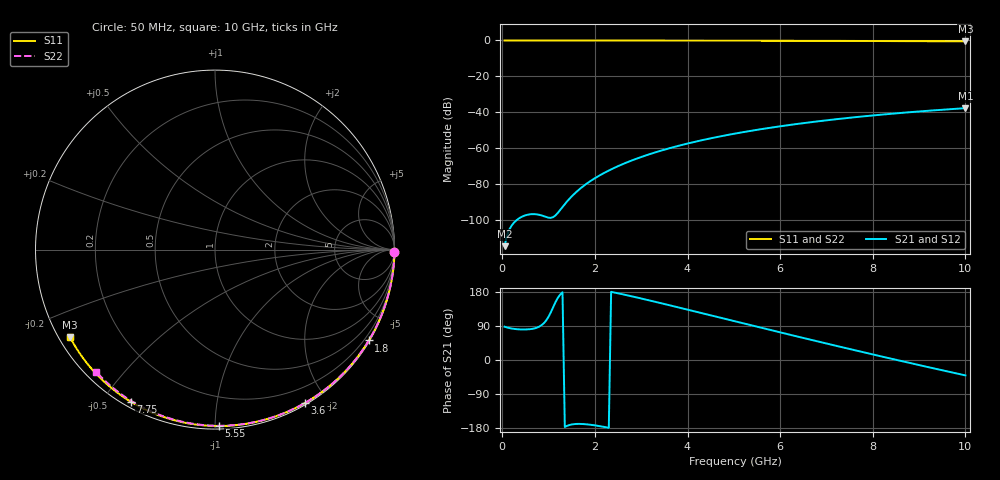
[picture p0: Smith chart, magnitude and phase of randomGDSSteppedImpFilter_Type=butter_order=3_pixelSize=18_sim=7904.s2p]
! freq	dB(S11)	phase(S11)	dB(S12)	phase(S12)
!  dB(S21)	phase(S21)	dB(S22)	phase(S22)
!S-par simulation data
#  GHz  S  DB  R 50
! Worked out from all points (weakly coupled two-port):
!   200 points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, 50 MHz to 10 GHz, reference 50 ohm
!   highest |S21| = -37.82 dB at 10 GHz (marker M1); lowest = -114.9 dB at 50 MHz (marker M2)
!   lowest |S11| = -0.5 dB at 10 GHz (marker M3), VSWR 34.50, Z = 1.56 - j13.9 ohm
!   |S11| at or under -10 dB: nowhere
!   |S22| runs from -0.4 to 0.0 dB; largest |S21 - S12| = 0
!   S11 on the Smith chart (normalised r, x): 50 MHz: open; 1.8 GHz: 0.03, -3.66; 3.6 GHz: 0.02, -1.75; 5.55 GHz: 0.02, -1.02; 7.75 GHz: 0.02, -0.59; 10 GHz: 0.03, -0.28
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0.05  -0.00 -0.9  -114.88 87.9  -114.88 87.9  -0.00 -0.8
0.45  -0.01 -7.8  -98.13 80.5  -98.13 80.5  -0.01 -6.9
0.9  -0.02 -15.4  -98.18 97.4  -98.18 97.4  -0.02 -13.8
1.3  -0.03 -22.2  -93.00 178.8  -93.00 178.8  -0.02 -19.9
1.75  -0.04 -29.7  -81.35 -169.0  -81.35 -169.0  -0.03 -26.6
1.8  -0.04 -30.6  -80.38 -169.5  -80.38 -169.5  -0.03 -27.4
1.85  -0.04 -31.4  -79.46 -170.1  -79.46 -170.1  -0.04 -28.1
2.05  -0.04 -34.7  -76.14 -173.4  -76.14 -173.4  -0.04 -31.1
2.2  -0.05 -37.2  -73.97 -176.6  -73.97 -176.6  -0.04 -33.3
2.5  -0.05 -42.1  -70.19 176.0  -70.19 176.0  -0.05 -37.7
2.9  -0.06 -48.5  -66.01 165.2  -66.01 165.2  -0.06 -43.5
3.4  -0.08 -56.5  -61.74 150.7  -61.74 150.7  -0.07 -50.7
3.6  -0.08 -59.6  -60.25 144.8  -60.25 144.8  -0.07 -53.5
4.3  -0.10 -70.4  -55.77 123.9  -55.77 123.9  -0.09 -63.3
5.05  -0.13 -81.5  -51.89 101.3  -51.89 101.3  -0.11 -73.4
5.55  -0.15 -88.7  -49.70 86.3  -49.70 86.3  -0.13 -80.0
6.1  -0.17 -96.5  -47.57 70.0  -47.57 70.0  -0.15 -87.1
6.7  -0.20 -104.9  -45.52 52.3  -45.52 52.3  -0.18 -94.6
7.75  -0.28 -119.1  -42.51 21.8  -42.51 21.8  -0.25 -107.5
8.35  -0.33 -127.0  -41.05 4.8  -41.05 4.8  -0.29 -114.7
9.2  -0.41 -138.2  -39.25 -18.9  -39.25 -18.9  -0.37 -124.8
10  -0.50 -148.8  -37.82 -40.7  -37.82 -40.7  -0.45 -134.2
